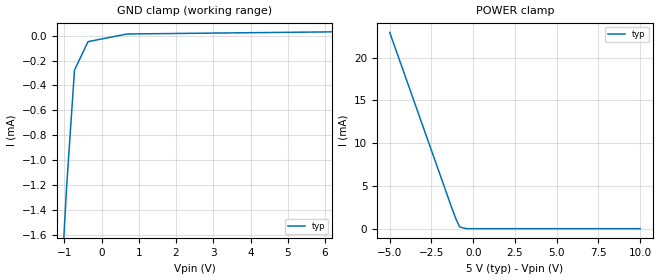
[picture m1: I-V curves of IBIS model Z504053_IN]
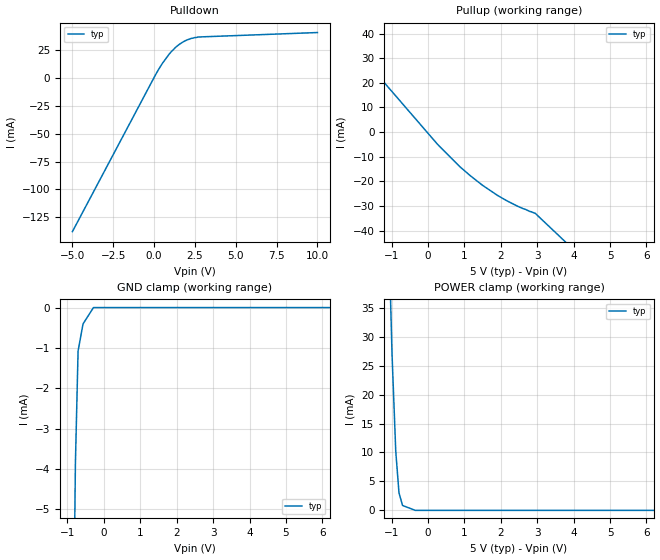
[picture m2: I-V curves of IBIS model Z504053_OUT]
| YOU ARE ONLY AUTHORIZED TO USE THIS SOFTWARE
| ACCORDING TO LICENSOR'S LICENSE RESTRICTIONS.
[IBIS Ver] 3.1
[File Name] mc54hc08aj.ibs
[File Rev] 2.0
[Source] Measured and created by ICX Technology
[Date] Friday 7/14/00 9:08:05 AM
[Copyright]
| (C) COPYRIGHT 1993-2000
| MENTOR GRAPHICS CORPORATION
| ICX STANDARD LIBRARY, ICX PROJECT MODELING,
| ICX CUSTOM MODELING, ICX VENDOR MODEL
| ALL RIGHTS RESERVED.
| THE FOLLOWING ARE TRADEMARKS OR SERVICE MARKS OF
| MENTOR GRAPHICS CORPORATION:ICX (R), ICX STANDARD
| LIBRARY(R), ICX PROJECT MODELING(R), ICX CUSTOM
| MODELING(R), qualityIBIS(TM), MODELVIEWER(TM),
| AND MODELEDITOR(TM)
| ALL COPIES OF SOFTWARE, INCLUDING BUT NOT LIMITED TO
| ANY MODIFICATIONS, ENHANCEMENTS OR DERIVATIVE WORKS,
| MUST CONTAIN ALL MENTOR GRAPHICS CORPORATION'S
| NOTICES AND LEGENDS, INCLUDING THOSE EMBEDDED IN
| SOFTWARE AND THOSE AFFIXED TO SOFTWARE MEDIUM
| AND CONTAINER, AS RECEIVED FROM MENTOR GRAPHICS
| CORPORATION.
|  ZAP Model Builder 2.7
[Component] MC54HC08AJ
[Manufacturer] OnSemiconductor
[Package]
| variable   typ   min   max
R_pkg  .21ohms NA NA
L_pkg  4.543nH NA NA
C_pkg  1.8pF NA NA
[Pin] signal_name  model_name  R_pin  L_pin C_pin
1 A Z504053_IN .22 6.757n 2.434p
2 B Z504053_IN .212 4.757n 1.941p
3 Y Z504053_OUT .204 3.257n 1.448p
4 A Z504053_IN .196 2.257n .955p
5 B Z504053_IN .204 3.257n 1.448p
6 Y Z504053_OUT .212 4.757n 1.941p
7 GND GND .22 6.757n 2.434p
8 Y Z504053_OUT .22 6.757n 2.434p
9 A Z504053_IN .212 4.757n 1.941p
10 B Z504053_IN .204 3.257n 1.448p
11 Y Z504053_OUT .196 2.257n .955p
12 A Z504053_IN .204 3.257n 1.448p
13 B Z504053_IN .212 4.757n 1.941p
14 VCC POWER .22 6.757n 2.434p
| Models and submodels in the file (2): Z504053_IN (Input), Z504053_OUT (Output)
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| (C) COPYRIGHT 1993-2000
| MENTOR GRAPHICS CORPORATION
| ICX STANDARD LIBRARY, ICX PROJECT MODELING,
| ICX CUSTOM MODELING, ICX VENDOR MODEL
| ALL RIGHTS RESERVED.
| THE FOLLOWING ARE TRADEMARKS OR SERVICE MARKS OF
| MENTOR GRAPHICS CORPORATION:ICX (R), ICX STANDARD
| LIBRARY(R), ICX PROJECT MODELING(R), ICX CUSTOM
| MODELING(R), qualityIBIS(TM), MODELVIEWER(TM),
| AND MODELEDITOR(TM)
| ALL COPIES OF SOFTWARE, INCLUDING BUT NOT LIMITED TO
| ANY MODIFICATIONS, ENHANCEMENTS OR DERIVATIVE WORKS,
| MUST CONTAIN ALL MENTOR GRAPHICS CORPORATION'S
| NOTICES AND LEGENDS, INCLUDING THOSE EMBEDDED IN
| SOFTWARE AND THOSE AFFIXED TO SOFTWARE MEDIUM
| AND CONTAINER, AS RECEIVED FROM MENTOR GRAPHICS
| CORPORATION.
| Model Application Version 1.89 2/18/99.
[Model] Z504053_IN
Model_type Input
Vinl = 1.000V
Vinh = 3.500V
C_comp 4.000pF NA NA
| variable typ   min   max
[Voltage Range] 5.000V NA NA
[GND Clamp Reference] 0.000V NA NA
[POWER Clamp Reference] 5.000V NA NA
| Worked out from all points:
|   GND clamp passes 1 mA (typ) near -0.89 V on its own axis
|   POWER clamp passes 1 mA (typ) near -1.00 V on its own axis
[GND Clamp]
-5V       -23.24mA   NA         NA
-936.8mV  -1.207mA   NA         NA
-727.4mV  -277.5uA   NA         NA
-363.7mV  -48.39uA   NA         NA
687mV     13.33uA    NA         NA
10V       42.3uA     NA         NA
[POWER Clamp]
-5V       22.94mA    NA         NA
-1.284V   2.436mA    NA         NA
-1.02V    1.074mA    NA         NA
-809mV    193uA      NA         NA
-404.5mV  0A         NA         NA
10V       0A         NA         NA
| (C) COPYRIGHT 1993-2000
| MENTOR GRAPHICS CORPORATION
| ICX STANDARD LIBRARY, ICX PROJECT MODELING,
| ICX CUSTOM MODELING, ICX VENDOR MODEL
| ALL RIGHTS RESERVED.
| THE FOLLOWING ARE TRADEMARKS OR SERVICE MARKS OF
| MENTOR GRAPHICS CORPORATION:ICX (R), ICX STANDARD
| LIBRARY(R), ICX PROJECT MODELING(R), ICX CUSTOM
| MODELING(R), qualityIBIS(TM), MODELVIEWER(TM),
| AND MODELEDITOR(TM)
| ALL COPIES OF SOFTWARE, INCLUDING BUT NOT LIMITED TO
| ANY MODIFICATIONS, ENHANCEMENTS OR DERIVATIVE WORKS,
| MUST CONTAIN ALL MENTOR GRAPHICS CORPORATION'S
| NOTICES AND LEGENDS, INCLUDING THOSE EMBEDDED IN
| SOFTWARE AND THOSE AFFIXED TO SOFTWARE MEDIUM
| AND CONTAINER, AS RECEIVED FROM MENTOR GRAPHICS
| CORPORATION.
| Model Application Version 1.89 2/18/99.
[Model] Z504053_OUT
Model_type Output
Vref=0.000V
Rref=500.0Mohms
Cref=50.00pF
Vmeas=2.500V
C_comp 8.000pF NA NA
| variable typ   min   max
[Voltage Range] 5.000V NA NA
[POWER Clamp Reference] 5.000V NA NA
[Pullup Reference] 5.000V NA NA
[Pulldown Reference] 0.000V NA NA
[GND Clamp Reference] 0.000V NA NA
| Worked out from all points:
|   slope of the pulldown table from 0 to 0.75 V, typ, clamps not added: 43 ohm
|   slope of the pullup table from 0 to 0.75 V, typ, clamps not added: 64 ohm
|   GND clamp passes 1 mA (typ) near -0.69 V on its own axis
|   POWER clamp passes 1 mA (typ) near -0.70 V on its own axis
[GND Clamp]
-5V       -344.1mA   NA         NA
-781.1mV  -3.865mA   NA         NA
-707.8mV  -1.075mA   NA         NA
-571.4mV  -404.6uA   NA         NA
-285.7mV  0A         NA         NA
10V       0A         NA         NA
[Pulldown]
-5V       -137.7mA   NA         NA
84.88mV   2.413mA    NA         NA
512.7mV   12.81mA    NA         NA
922.2mV   20.93mA    NA         NA
1.314V    27.01mA    NA         NA
1.906V    32.91mA    NA         NA
2.285V    35.09mA    NA         NA
2.701V    36.3mA     NA         NA
10V       40.29mA    NA         NA
[Pullup]
-5V       85.14mA    NA         NA
259mV     -4.89mA    NA         NA
867mV     -13.92mA   NA         NA
1.496V    -21.57mA   NA         NA
2.17V     -27.91mA   NA         NA
2.803V    -32.24mA   NA         NA
2.92V     -32.87mA   NA         NA
10V       -131.7mA   NA         NA
[POWER Clamp]
-5V       960.4mA    NA         NA
-986mV    26.94mA    NA         NA
-884mV    10.22mA    NA         NA
-795mV    3.016mA    NA         NA
-697mV    843.7uA    NA         NA
-348.5mV  0A         NA         NA
10V       0A         NA         NA
[Ramp]
| variable typ min max
dV/dt_r 2.683/617.2p NA NA
dV/dt_f 2.683/653.6p NA NA
R_load = 500.0Ohms
